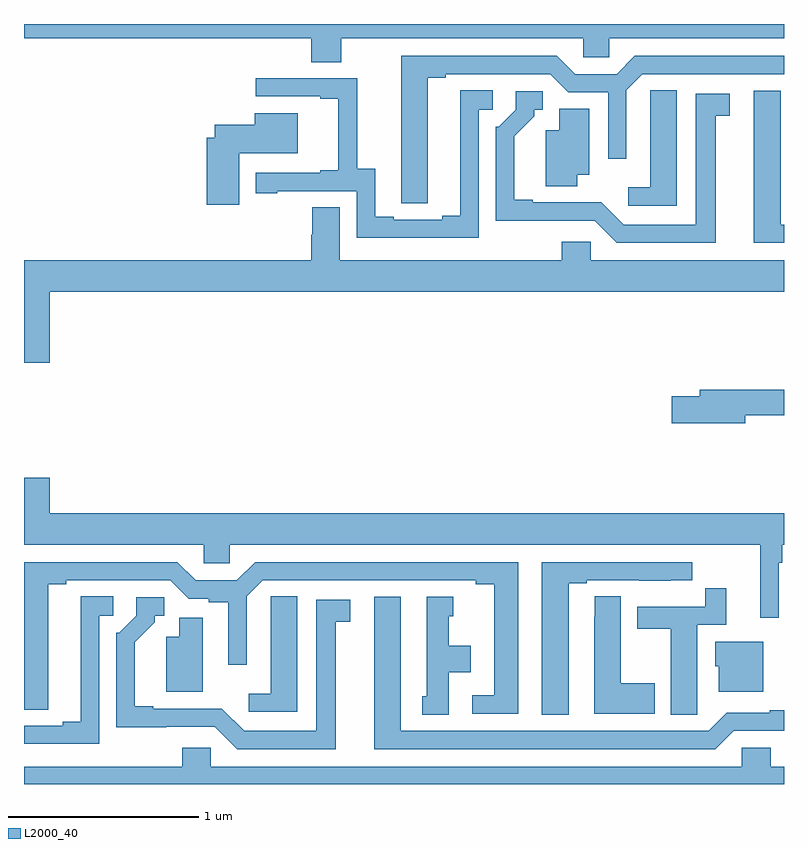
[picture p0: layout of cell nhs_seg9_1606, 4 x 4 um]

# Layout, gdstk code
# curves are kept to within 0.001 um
import gdstk
lib = gdstk.Library(unit=1e-6, precision=1e-09)
def P(c, l, *ps):  # polygons
    for p in ps: c.add(gdstk.Polygon(p, *l))
L2000_40 = (2000, 40)

nhs_seg9_1606 = lib.new_cell('nhs_seg9_1606')
P(nhs_seg9_1606, L2000_40, [(202.671,1192.424),(203.943,1192.424),(203.943,1192.326),(204.081,1192.326),(204.081,1192.424),(205,1192.424),(205,1192.5),(201,1192.5),(201,1192.424),(202.511,1192.424),(202.511,1192.3),(202.671,1192.3)],
  [(203.125,1192.216),(203.221,1192.216),(203.221,1192.236),(203.769,1192.236),(203.865,1192.14),(204.075,1192.14),(204.075,1191.792),(204.171,1191.792),(204.171,1192.152),(204.255,1192.236),(205,1192.236),(205,1192.332),(204.215,1192.332),(204.119,1192.236),(203.901,1192.236),(203.805,1192.332),(202.985,1192.332),(202.986,1191.556),(203.125,1191.556)],
  [(203.394,1192.05),(203.467,1192.05),(203.467,1192.151),(203.297,1192.151),(203.297,1191.491),(203.201,1191.491),(203.201,1191.471),(202.945,1191.471),(202.945,1191.486),(202.849,1191.486),(202.849,1191.737),(202.755,1191.737),(202.755,1192.215),(202.221,1192.215),(202.221,1192.119),(202.559,1192.119),(202.559,1192.107),(202.655,1192.107),(202.655,1191.73),(202.559,1191.73),(202.559,1191.717),(202.221,1191.717),(202.221,1191.609),(202.333,1191.609),(202.333,1191.621),(202.752,1191.621),(202.752,1191.375),(203.394,1191.375)],
  [(204.436,1192.151),(204.297,1192.151),(204.297,1192.043),(204.296,1192.043),(204.296,1191.64),(204.18,1191.64),(204.18,1191.543),(204.436,1191.543)],
  [(205,1191.444),(204.982,1191.444),(204.982,1192.15),(204.842,1192.15),(204.842,1191.348),(205,1191.348)],
  [(204.64,1192.018),(204.715,1192.018),(204.715,1192.134),(204.536,1192.134),(204.536,1191.444),(204.156,1191.444),(204.038,1191.562),(203.677,1191.561),(203.677,1191.574),(203.581,1191.574),(203.581,1191.91),(203.686,1192.015),(203.686,1192.05),(203.731,1192.05),(203.731,1192.146),(203.589,1192.146),(203.589,1192.05),(203.499,1191.96),(203.484,1191.96),(203.484,1191.464),(204.003,1191.465),(204.12,1191.348),(204.64,1191.348)],
  [(203.911,1191.707),(203.974,1191.707),(203.974,1192.055),(203.816,1192.055),(203.816,1191.94),(203.747,1191.94),(203.747,1191.646),(203.911,1191.646)],
  [(202.132,1191.821),(202.441,1191.821),(202.441,1192.03),(202.214,1192.03),(202.214,1191.969),(202.004,1191.969),(202.004,1191.901),(201.962,1191.901),(201.962,1191.549),(202.132,1191.549)],
  [(201.136,1191.092),(205,1191.092),(205,1191.256),(203.982,1191.256),(203.982,1191.354),(203.831,1191.354),(203.831,1191.256),(202.663,1191.256),(202.663,1191.536),(202.516,1191.536),(202.516,1191.39),(202.511,1191.39),(202.511,1191.256),(201,1191.256),(201,1190.718),(201.136,1190.718)],
  [(204.796,1190.44),(205,1190.44),(205,1190.576),(204.557,1190.576),(204.557,1190.54),(204.408,1190.54),(204.408,1190.398),(204.796,1190.398)],
  [(204.972,1189.664),(204.992,1189.664),(204.992,1189.76),(205,1189.76),(205,1189.924),(201.136,1189.924),(201.136,1190.113),(201,1190.113),(201,1189.76),(201.945,1189.76),(201.945,1189.662),(202.083,1189.662),(202.083,1189.76),(204.875,1189.76),(204.875,1189.374),(204.972,1189.374)],
  [(203.866,1189.557),(203.962,1189.557),(203.962,1189.572),(204.238,1189.572),(204.238,1189.571),(204.404,1189.571),(204.404,1189.572),(204.517,1189.572),(204.517,1189.668),(203.726,1189.668),(203.726,1188.865),(203.866,1188.865)],
  [(203.602,1189.668),(202.217,1189.668),(202.121,1189.572),(201.903,1189.572),(201.807,1189.668),(201,1189.668),(201,1188.892),(201.127,1188.892),(201.127,1189.552),(201.223,1189.552),(201.223,1189.572),(201.771,1189.572),(201.867,1189.476),(201.972,1189.476),(201.972,1189.456),(202.076,1189.456),(202.076,1189.128),(202.173,1189.128),(202.173,1189.488),(202.257,1189.572),(203.378,1189.572),(203.378,1189.552),(203.474,1189.552),(203.474,1188.966),(203.358,1188.966),(203.358,1188.87),(203.602,1188.87)],
  [(204.543,1188.976),(204.544,1188.976),(204.544,1189.338),(204.695,1189.338),(204.695,1189.531),(204.586,1189.531),(204.586,1189.434),(204.227,1189.434),(204.227,1189.318),(204.404,1189.318),(204.404,1188.865),(204.543,1188.865)],
  [(204.319,1189.029),(204.142,1189.029),(204.142,1189.487),(204.003,1189.487),(204.003,1189.379),(204.002,1189.379),(204.002,1188.869),(204.319,1188.869)],
  [(202.438,1189.487),(202.299,1189.487),(202.299,1189.379),(202.298,1189.379),(202.298,1188.976),(202.182,1188.976),(202.182,1188.879),(202.438,1188.879)],
  [(201.396,1189.386),(201.469,1189.386),(201.469,1189.487),(201.299,1189.487),(201.299,1188.827),(201.203,1188.827),(201.203,1188.807),(201,1188.807),(201,1188.711),(201.396,1188.711)],
  [(204.735,1188.78),(205,1188.78),(205,1188.889),(204.926,1188.889),(204.926,1188.876),(204.699,1188.876),(204.603,1188.78),(202.984,1188.78),(202.984,1189.486),(202.844,1189.486),(202.844,1188.684),(204.639,1188.684)],
  [(203.236,1189.088),(203.35,1189.088),(203.35,1189.228),(203.236,1189.228),(203.236,1189.383),(203.26,1189.383),(203.26,1189.486),(203.12,1189.486),(203.12,1188.963),(203.096,1188.963),(203.096,1188.865),(203.236,1188.865)],
  [(202.642,1189.354),(202.717,1189.354),(202.717,1189.47),(202.538,1189.47),(202.538,1188.78),(202.158,1188.78),(202.041,1188.897),(201.679,1188.897),(201.679,1188.91),(201.583,1188.91),(201.583,1189.246),(201.688,1189.351),(201.688,1189.386),(201.738,1189.386),(201.738,1189.482),(201.591,1189.482),(201.591,1189.386),(201.501,1189.296),(201.486,1189.296),(201.486,1188.8),(202.005,1188.801),(202.122,1188.684),(202.642,1188.684)],
  [(201.94,1189.374),(201.818,1189.374),(201.818,1189.276),(201.749,1189.276),(201.749,1188.986),(201.94,1188.986)],
  [(204.892,1189.249),(204.638,1189.249),(204.638,1189.119),(204.656,1189.119),(204.656,1188.986),(204.892,1188.986)],
  [(205,1188.592),(204.929,1188.592),(204.929,1188.69),(204.777,1188.69),(204.777,1188.592),(201.984,1188.592),(201.984,1188.69),(201.833,1188.69),(201.833,1188.592),(201,1188.592),(201,1188.5),(205,1188.5)])

lib.write_gds('nhs_seg9_1606.gds')
